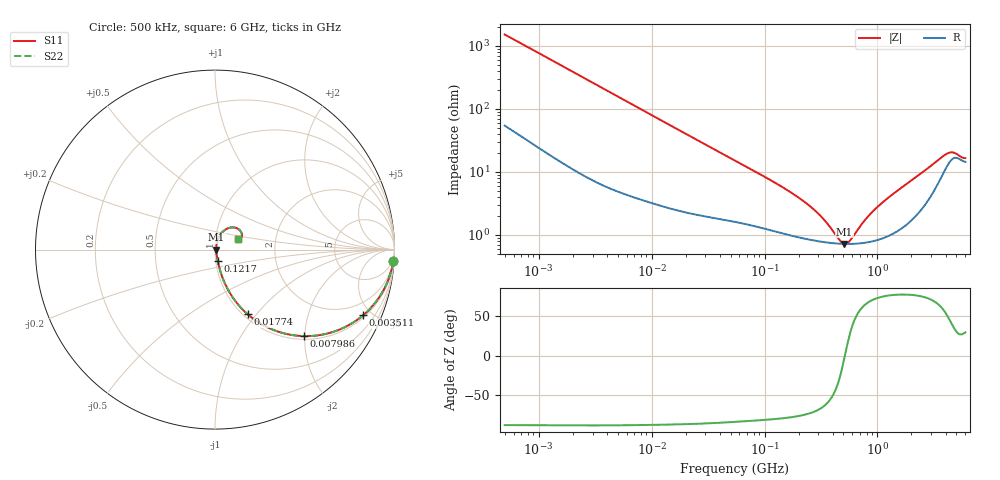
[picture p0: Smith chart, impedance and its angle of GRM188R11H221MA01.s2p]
!Murata Part Number: GRM188R11H221MA01
!These Parameters are Measured in Series Mode Connection
!Data Generated on Mar 30, 2021
!  o--ll--o
!Port1  Port2
!  o------o
!Operation Temp=25[degC], DC Bias Voltage=0[V]
!Freq. Start=500[kHz] Stop=6[GHz] 401[Steps]
# Hz S RI R 50
!Freq.(Hz) S11(Real) S11(Imag) S21(Real) S21(Imag) S12(Real) S12(Imag) S22(Real) S22(Imag)
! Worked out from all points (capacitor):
!   401 points, 500 kHz to 6 GHz, reference 50 ohm
!   read as one part in series: C = 209 pF near 524 kHz
!   lowest |Z| = 718 mohm at 509.8 MHz (marker M1)
!   series resonance near 514.8 MHz, so ESL is about 460 pH
!   S11 on the Smith chart (normalised r, x): 500 kHz: 2, -30; 3.511 MHz: 1.13, -4.47; 7.986 MHz: 1.07, -1.98; 17.74 MHz: 1.05, -0.90; 121.7 MHz: 1.02, -0.13; 6 GHz: 1.29, +0.16
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500000  0.9934 -0.0653  0.00665 0.0653  0.00665 0.0653  0.9934 -0.0653
1137361  0.9746 -0.1429  0.0254 0.1429  0.0254 0.1429  0.9746 -0.1429
2411198  0.9065 -0.2775  0.0935 0.2775  0.0935 0.2775  0.9065 -0.2775
3510752  0.8261 -0.365  0.1739 0.365  0.1739 0.365  0.8261 -0.365
5615122  0.6588 -0.4584  0.3412 0.4584  0.3412 0.4584  0.6588 -0.4584
7985985  0.4964 -0.482  0.5036 0.482  0.5036 0.482  0.4964 -0.482
1.162775e7  0.3269 -0.4481  0.6731 0.4481  0.6731 0.4481  0.3269 -0.4481
1.77443e7  0.1827 -0.3609  0.8173 0.3609  0.8173 0.3609  0.1827 -0.3609
2.905467e7  0.0874 -0.2492  0.9126 0.2492  0.9126 0.2492  0.0874 -0.2492
5.477226e7  0.0367 -0.142  0.9633 0.142  0.9633 0.142  0.0367 -0.142
1.217001e8  0.0156 -0.0656  0.9844 0.0656  0.9844 0.0656  0.0156 -0.0656
2.641335e8  0.00877 -0.0249  0.9912 0.0249  0.9912 0.0249  0.00877 -0.0249
3.419802e8  0.00778 -0.0148  0.9922 0.0148  0.9922 0.0148  0.00778 -0.0148
4.640602e8  0.00718 -0.00369  0.9928 0.00369  0.9928 0.00369  0.00718 -0.00369
5.097605e8  0.00712 -0.00035  0.9929 0.00035  0.9929 0.00035  0.00712 -0.00035
5.599613e8  0.00712 0.00301  0.9929 -0.00301  0.9929 -0.00301  0.00712 0.00301
8.346861e8  0.00791 0.0182  0.9921 -0.0182  0.9921 -0.0182  0.00791 0.0182
1.273756e9  0.0111 0.0381  0.9889 -0.0381  0.9889 -0.0381  0.0111 0.0381
2.637685e9  0.0383 0.0943  0.9617 -0.0943  0.9617 -0.0943  0.0383 0.0943
3.93177e9  0.1114 0.1223  0.8886 -0.1223  0.8886 -0.1223  0.1114 0.1223
4.634189e9  0.1485 0.0911  0.8515 -0.0911  0.8515 -0.0911  0.1485 0.0911
6e9  0.1302 0.0612  0.8698 -0.0612  0.8698 -0.0612  0.1302 0.0612
